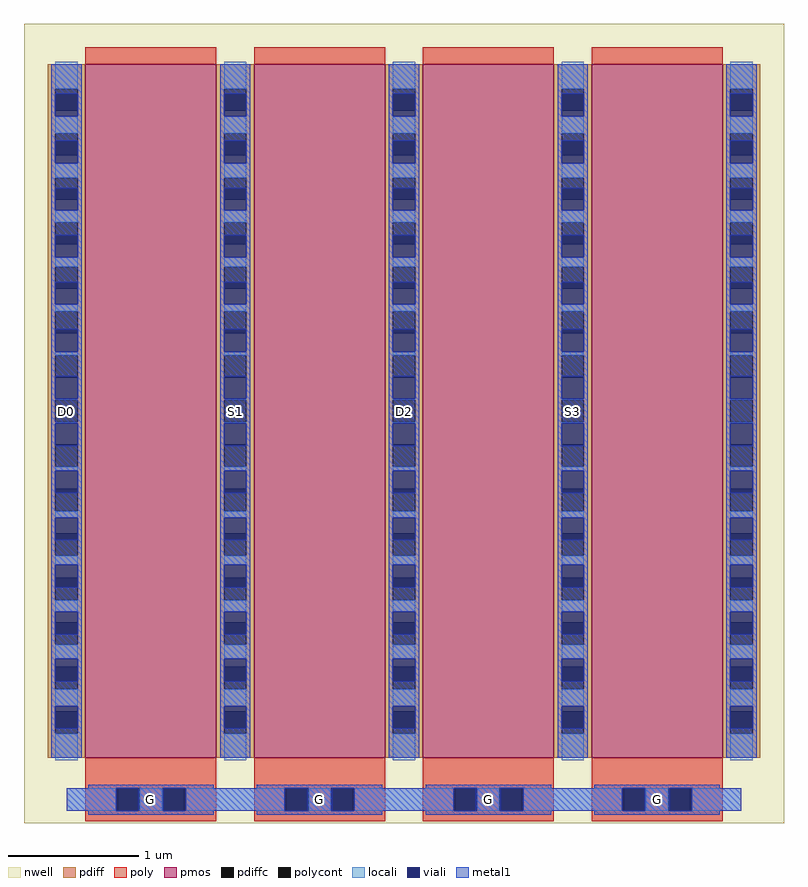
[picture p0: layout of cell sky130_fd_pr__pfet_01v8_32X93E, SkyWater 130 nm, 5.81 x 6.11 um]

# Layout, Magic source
magic
tech sky130A
magscale 1 2
<< nwell >>
rect -581 -594 581 628
<< pmos >>
rect -487 -494 -287 566
rect -229 -494 -29 566
rect 29 -494 229 566
rect 287 -494 487 566
<< pdiff >>
rect -545 529 -487 566
rect -545 495 -533 529
rect -499 495 -487 529
rect -545 461 -487 495
rect -545 427 -533 461
rect -499 427 -487 461
rect -545 393 -487 427
rect -545 359 -533 393
rect -499 359 -487 393
rect -545 325 -487 359
rect -545 291 -533 325
rect -499 291 -487 325
rect -545 257 -487 291
rect -545 223 -533 257
rect -499 223 -487 257
rect -545 189 -487 223
rect -545 155 -533 189
rect -499 155 -487 189
rect -545 121 -487 155
rect -545 87 -533 121
rect -499 87 -487 121
rect -545 53 -487 87
rect -545 19 -533 53
rect -499 19 -487 53
rect -545 -15 -487 19
rect -545 -49 -533 -15
rect -499 -49 -487 -15
rect -545 -83 -487 -49
rect -545 -117 -533 -83
rect -499 -117 -487 -83
rect -545 -151 -487 -117
rect -545 -185 -533 -151
rect -499 -185 -487 -151
rect -545 -219 -487 -185
rect -545 -253 -533 -219
rect -499 -253 -487 -219
rect -545 -287 -487 -253
rect -545 -321 -533 -287
rect -499 -321 -487 -287
rect -545 -355 -487 -321
rect -545 -389 -533 -355
rect -499 -389 -487 -355
rect -545 -423 -487 -389
rect -545 -457 -533 -423
rect -499 -457 -487 -423
rect -545 -494 -487 -457
rect -287 529 -229 566
rect -287 495 -275 529
rect -241 495 -229 529
rect -287 461 -229 495
rect -287 427 -275 461
rect -241 427 -229 461
rect -287 393 -229 427
rect -287 359 -275 393
rect -241 359 -229 393
rect -287 325 -229 359
rect -287 291 -275 325
rect -241 291 -229 325
rect -287 257 -229 291
rect -287 223 -275 257
rect -241 223 -229 257
rect -287 189 -229 223
rect -287 155 -275 189
rect -241 155 -229 189
rect -287 121 -229 155
rect -287 87 -275 121
rect -241 87 -229 121
rect -287 53 -229 87
rect -287 19 -275 53
rect -241 19 -229 53
rect -287 -15 -229 19
rect -287 -49 -275 -15
rect -241 -49 -229 -15
rect -287 -83 -229 -49
rect -287 -117 -275 -83
rect -241 -117 -229 -83
rect -287 -151 -229 -117
rect -287 -185 -275 -151
rect -241 -185 -229 -151
rect -287 -219 -229 -185
rect -287 -253 -275 -219
rect -241 -253 -229 -219
rect -287 -287 -229 -253
rect -287 -321 -275 -287
rect -241 -321 -229 -287
rect -287 -355 -229 -321
rect -287 -389 -275 -355
rect -241 -389 -229 -355
rect -287 -423 -229 -389
rect -287 -457 -275 -423
rect -241 -457 -229 -423
rect -287 -494 -229 -457
rect -29 529 29 566
rect -29 495 -17 529
rect 17 495 29 529
rect -29 461 29 495
rect -29 427 -17 461
rect 17 427 29 461
rect -29 393 29 427
rect -29 359 -17 393
rect 17 359 29 393
rect -29 325 29 359
rect -29 291 -17 325
rect 17 291 29 325
rect -29 257 29 291
rect -29 223 -17 257
rect 17 223 29 257
rect -29 189 29 223
rect -29 155 -17 189
rect 17 155 29 189
rect -29 121 29 155
rect -29 87 -17 121
rect 17 87 29 121
rect -29 53 29 87
rect -29 19 -17 53
rect 17 19 29 53
rect -29 -15 29 19
rect -29 -49 -17 -15
rect 17 -49 29 -15
rect -29 -83 29 -49
rect -29 -117 -17 -83
rect 17 -117 29 -83
rect -29 -151 29 -117
rect -29 -185 -17 -151
rect 17 -185 29 -151
rect -29 -219 29 -185
rect -29 -253 -17 -219
rect 17 -253 29 -219
rect -29 -287 29 -253
rect -29 -321 -17 -287
rect 17 -321 29 -287
rect -29 -355 29 -321
rect -29 -389 -17 -355
rect 17 -389 29 -355
rect -29 -423 29 -389
rect -29 -457 -17 -423
rect 17 -457 29 -423
rect -29 -494 29 -457
rect 229 529 287 566
rect 229 495 241 529
rect 275 495 287 529
rect 229 461 287 495
rect 229 427 241 461
rect 275 427 287 461
rect 229 393 287 427
rect 229 359 241 393
rect 275 359 287 393
rect 229 325 287 359
rect 229 291 241 325
rect 275 291 287 325
rect 229 257 287 291
rect 229 223 241 257
rect 275 223 287 257
rect 229 189 287 223
rect 229 155 241 189
rect 275 155 287 189
rect 229 121 287 155
rect 229 87 241 121
rect 275 87 287 121
rect 229 53 287 87
rect 229 19 241 53
rect 275 19 287 53
rect 229 -15 287 19
rect 229 -49 241 -15
rect 275 -49 287 -15
rect 229 -83 287 -49
rect 229 -117 241 -83
rect 275 -117 287 -83
rect 229 -151 287 -117
rect 229 -185 241 -151
rect 275 -185 287 -151
rect 229 -219 287 -185
rect 229 -253 241 -219
rect 275 -253 287 -219
rect 229 -287 287 -253
rect 229 -321 241 -287
rect 275 -321 287 -287
rect 229 -355 287 -321
rect 229 -389 241 -355
rect 275 -389 287 -355
rect 229 -423 287 -389
rect 229 -457 241 -423
rect 275 -457 287 -423
rect 229 -494 287 -457
rect 487 529 545 566
rect 487 495 499 529
rect 533 495 545 529
rect 487 461 545 495
rect 487 427 499 461
rect 533 427 545 461
rect 487 393 545 427
rect 487 359 499 393
rect 533 359 545 393
rect 487 325 545 359
rect 487 291 499 325
rect 533 291 545 325
rect 487 257 545 291
rect 487 223 499 257
rect 533 223 545 257
rect 487 189 545 223
rect 487 155 499 189
rect 533 155 545 189
rect 487 121 545 155
rect 487 87 499 121
rect 533 87 545 121
rect 487 53 545 87
rect 487 19 499 53
rect 533 19 545 53
rect 487 -15 545 19
rect 487 -49 499 -15
rect 533 -49 545 -15
rect 487 -83 545 -49
rect 487 -117 499 -83
rect 533 -117 545 -83
rect 487 -151 545 -117
rect 487 -185 499 -151
rect 533 -185 545 -151
rect 487 -219 545 -185
rect 487 -253 499 -219
rect 533 -253 545 -219
rect 487 -287 545 -253
rect 487 -321 499 -287
rect 533 -321 545 -287
rect 487 -355 545 -321
rect 487 -389 499 -355
rect 533 -389 545 -355
rect 487 -423 545 -389
rect 487 -457 499 -423
rect 533 -457 545 -423
rect 487 -494 545 -457
<< pdiffc >>
rect -533 495 -499 529
rect -533 427 -499 461
rect -533 359 -499 393
rect -533 291 -499 325
rect -533 223 -499 257
rect -533 155 -499 189
rect -533 87 -499 121
rect -533 19 -499 53
rect -533 -49 -499 -15
rect -533 -117 -499 -83
rect -533 -185 -499 -151
rect -533 -253 -499 -219
rect -533 -321 -499 -287
rect -533 -389 -499 -355
rect -533 -457 -499 -423
rect -275 495 -241 529
rect -275 427 -241 461
rect -275 359 -241 393
rect -275 291 -241 325
rect -275 223 -241 257
rect -275 155 -241 189
rect -275 87 -241 121
rect -275 19 -241 53
rect -275 -49 -241 -15
rect -275 -117 -241 -83
rect -275 -185 -241 -151
rect -275 -253 -241 -219
rect -275 -321 -241 -287
rect -275 -389 -241 -355
rect -275 -457 -241 -423
rect -17 495 17 529
rect -17 427 17 461
rect -17 359 17 393
rect -17 291 17 325
rect -17 223 17 257
rect -17 155 17 189
rect -17 87 17 121
rect -17 19 17 53
rect -17 -49 17 -15
rect -17 -117 17 -83
rect -17 -185 17 -151
rect -17 -253 17 -219
rect -17 -321 17 -287
rect -17 -389 17 -355
rect -17 -457 17 -423
rect 241 495 275 529
rect 241 427 275 461
rect 241 359 275 393
rect 241 291 275 325
rect 241 223 275 257
rect 241 155 275 189
rect 241 87 275 121
rect 241 19 275 53
rect 241 -49 275 -15
rect 241 -117 275 -83
rect 241 -185 275 -151
rect 241 -253 275 -219
rect 241 -321 275 -287
rect 241 -389 275 -355
rect 241 -457 275 -423
rect 499 495 533 529
rect 499 427 533 461
rect 499 359 533 393
rect 499 291 533 325
rect 499 223 533 257
rect 499 155 533 189
rect 499 87 533 121
rect 499 19 533 53
rect 499 -49 533 -15
rect 499 -117 533 -83
rect 499 -185 533 -151
rect 499 -253 533 -219
rect 499 -321 533 -287
rect 499 -389 533 -355
rect 499 -457 533 -423
<< poly >>
rect -487 566 -287 592
rect -229 566 -29 592
rect 29 566 229 592
rect 287 566 487 592
rect -487 -541 -287 -494
rect -487 -575 -438 -541
rect -404 -575 -370 -541
rect -336 -575 -287 -541
rect -487 -591 -287 -575
rect -229 -541 -29 -494
rect -229 -575 -180 -541
rect -146 -575 -112 -541
rect -78 -575 -29 -541
rect -229 -591 -29 -575
rect 29 -541 229 -494
rect 29 -575 78 -541
rect 112 -575 146 -541
rect 180 -575 229 -541
rect 29 -591 229 -575
rect 287 -541 487 -494
rect 287 -575 336 -541
rect 370 -575 404 -541
rect 438 -575 487 -541
rect 287 -591 487 -575
<< polycont >>
rect -438 -575 -404 -541
rect -370 -575 -336 -541
rect -180 -575 -146 -541
rect -112 -575 -78 -541
rect 78 -575 112 -541
rect 146 -575 180 -541
rect 336 -575 370 -541
rect 404 -575 438 -541
<< locali >>
rect -533 529 -499 570
rect -533 461 -499 487
rect -533 393 -499 415
rect -533 325 -499 343
rect -533 257 -499 271
rect -533 189 -499 199
rect -533 121 -499 127
rect -533 53 -499 55
rect -533 17 -499 19
rect -533 -55 -499 -49
rect -533 -127 -499 -117
rect -533 -199 -499 -185
rect -533 -271 -499 -253
rect -533 -343 -499 -321
rect -533 -415 -499 -389
rect -533 -498 -499 -457
rect -275 529 -241 570
rect -275 461 -241 487
rect -275 393 -241 415
rect -275 325 -241 343
rect -275 257 -241 271
rect -275 189 -241 199
rect -275 121 -241 127
rect -275 53 -241 55
rect -275 17 -241 19
rect -275 -55 -241 -49
rect -275 -127 -241 -117
rect -275 -199 -241 -185
rect -275 -271 -241 -253
rect -275 -343 -241 -321
rect -275 -415 -241 -389
rect -275 -498 -241 -457
rect -17 529 17 570
rect -17 461 17 487
rect -17 393 17 415
rect -17 325 17 343
rect -17 257 17 271
rect -17 189 17 199
rect -17 121 17 127
rect -17 53 17 55
rect -17 17 17 19
rect -17 -55 17 -49
rect -17 -127 17 -117
rect -17 -199 17 -185
rect -17 -271 17 -253
rect -17 -343 17 -321
rect -17 -415 17 -389
rect -17 -498 17 -457
rect 241 529 275 570
rect 241 461 275 487
rect 241 393 275 415
rect 241 325 275 343
rect 241 257 275 271
rect 241 189 275 199
rect 241 121 275 127
rect 241 53 275 55
rect 241 17 275 19
rect 241 -55 275 -49
rect 241 -127 275 -117
rect 241 -199 275 -185
rect 241 -271 275 -253
rect 241 -343 275 -321
rect 241 -415 275 -389
rect 241 -498 275 -457
rect 499 529 533 570
rect 499 461 533 487
rect 499 393 533 415
rect 499 325 533 343
rect 499 257 533 271
rect 499 189 533 199
rect 499 121 533 127
rect 499 53 533 55
rect 499 17 533 19
rect 499 -55 533 -49
rect 499 -127 533 -117
rect 499 -199 533 -185
rect 499 -271 533 -253
rect 499 -343 533 -321
rect 499 -415 533 -389
rect 499 -498 533 -457
rect -516 -575 -440 -541
rect -404 -575 -370 -541
rect -334 -575 -182 -541
rect -146 -575 -112 -541
rect -76 -575 76 -541
rect 112 -575 146 -541
rect 182 -575 334 -541
rect 370 -575 404 -541
rect 440 -575 516 -541
<< viali >>
rect -533 495 -499 521
rect -533 487 -499 495
rect -533 427 -499 449
rect -533 415 -499 427
rect -533 359 -499 377
rect -533 343 -499 359
rect -533 291 -499 305
rect -533 271 -499 291
rect -533 223 -499 233
rect -533 199 -499 223
rect -533 155 -499 161
rect -533 127 -499 155
rect -533 87 -499 89
rect -533 55 -499 87
rect -533 -15 -499 17
rect -533 -17 -499 -15
rect -533 -83 -499 -55
rect -533 -89 -499 -83
rect -533 -151 -499 -127
rect -533 -161 -499 -151
rect -533 -219 -499 -199
rect -533 -233 -499 -219
rect -533 -287 -499 -271
rect -533 -305 -499 -287
rect -533 -355 -499 -343
rect -533 -377 -499 -355
rect -533 -423 -499 -415
rect -533 -449 -499 -423
rect -275 495 -241 521
rect -275 487 -241 495
rect -275 427 -241 449
rect -275 415 -241 427
rect -275 359 -241 377
rect -275 343 -241 359
rect -275 291 -241 305
rect -275 271 -241 291
rect -275 223 -241 233
rect -275 199 -241 223
rect -275 155 -241 161
rect -275 127 -241 155
rect -275 87 -241 89
rect -275 55 -241 87
rect -275 -15 -241 17
rect -275 -17 -241 -15
rect -275 -83 -241 -55
rect -275 -89 -241 -83
rect -275 -151 -241 -127
rect -275 -161 -241 -151
rect -275 -219 -241 -199
rect -275 -233 -241 -219
rect -275 -287 -241 -271
rect -275 -305 -241 -287
rect -275 -355 -241 -343
rect -275 -377 -241 -355
rect -275 -423 -241 -415
rect -275 -449 -241 -423
rect -17 495 17 521
rect -17 487 17 495
rect -17 427 17 449
rect -17 415 17 427
rect -17 359 17 377
rect -17 343 17 359
rect -17 291 17 305
rect -17 271 17 291
rect -17 223 17 233
rect -17 199 17 223
rect -17 155 17 161
rect -17 127 17 155
rect -17 87 17 89
rect -17 55 17 87
rect -17 -15 17 17
rect -17 -17 17 -15
rect -17 -83 17 -55
rect -17 -89 17 -83
rect -17 -151 17 -127
rect -17 -161 17 -151
rect -17 -219 17 -199
rect -17 -233 17 -219
rect -17 -287 17 -271
rect -17 -305 17 -287
rect -17 -355 17 -343
rect -17 -377 17 -355
rect -17 -423 17 -415
rect -17 -449 17 -423
rect 241 495 275 521
rect 241 487 275 495
rect 241 427 275 449
rect 241 415 275 427
rect 241 359 275 377
rect 241 343 275 359
rect 241 291 275 305
rect 241 271 275 291
rect 241 223 275 233
rect 241 199 275 223
rect 241 155 275 161
rect 241 127 275 155
rect 241 87 275 89
rect 241 55 275 87
rect 241 -15 275 17
rect 241 -17 275 -15
rect 241 -83 275 -55
rect 241 -89 275 -83
rect 241 -151 275 -127
rect 241 -161 275 -151
rect 241 -219 275 -199
rect 241 -233 275 -219
rect 241 -287 275 -271
rect 241 -305 275 -287
rect 241 -355 275 -343
rect 241 -377 275 -355
rect 241 -423 275 -415
rect 241 -449 275 -423
rect 499 495 533 521
rect 499 487 533 495
rect 499 427 533 449
rect 499 415 533 427
rect 499 359 533 377
rect 499 343 533 359
rect 499 291 533 305
rect 499 271 533 291
rect 499 223 533 233
rect 499 199 533 223
rect 499 155 533 161
rect 499 127 533 155
rect 499 87 533 89
rect 499 55 533 87
rect 499 -15 533 17
rect 499 -17 533 -15
rect 499 -83 533 -55
rect 499 -89 533 -83
rect 499 -151 533 -127
rect 499 -161 533 -151
rect 499 -219 533 -199
rect 499 -233 533 -219
rect 499 -287 533 -271
rect 499 -305 533 -287
rect 499 -355 533 -343
rect 499 -377 533 -355
rect 499 -423 533 -415
rect 499 -449 533 -423
rect -440 -575 -438 -541
rect -438 -575 -406 -541
rect -368 -575 -336 -541
rect -336 -575 -334 -541
rect -182 -575 -180 -541
rect -180 -575 -148 -541
rect -110 -575 -78 -541
rect -78 -575 -76 -541
rect 76 -575 78 -541
rect 78 -575 110 -541
rect 148 -575 180 -541
rect 180 -575 182 -541
rect 334 -575 336 -541
rect 336 -575 368 -541
rect 406 -575 438 -541
rect 438 -575 440 -541
<< metal1 >>
rect -539 521 -493 566
rect -539 487 -533 521
rect -499 487 -493 521
rect -539 449 -493 487
rect -539 415 -533 449
rect -499 415 -493 449
rect -539 377 -493 415
rect -539 343 -533 377
rect -499 343 -493 377
rect -539 305 -493 343
rect -539 271 -533 305
rect -499 271 -493 305
rect -539 233 -493 271
rect -539 199 -533 233
rect -499 199 -493 233
rect -539 161 -493 199
rect -539 127 -533 161
rect -499 127 -493 161
rect -539 89 -493 127
rect -539 55 -533 89
rect -499 55 -493 89
rect -539 17 -493 55
rect -539 -17 -533 17
rect -499 -17 -493 17
rect -539 -55 -493 -17
rect -539 -89 -533 -55
rect -499 -89 -493 -55
rect -539 -127 -493 -89
rect -539 -161 -533 -127
rect -499 -161 -493 -127
rect -539 -199 -493 -161
rect -539 -233 -533 -199
rect -499 -233 -493 -199
rect -539 -271 -493 -233
rect -539 -305 -533 -271
rect -499 -305 -493 -271
rect -539 -343 -493 -305
rect -539 -377 -533 -343
rect -499 -377 -493 -343
rect -539 -415 -493 -377
rect -539 -449 -533 -415
rect -499 -449 -493 -415
rect -539 -494 -493 -449
rect -281 521 -235 566
rect -281 487 -275 521
rect -241 487 -235 521
rect -281 449 -235 487
rect -281 415 -275 449
rect -241 415 -235 449
rect -281 377 -235 415
rect -281 343 -275 377
rect -241 343 -235 377
rect -281 305 -235 343
rect -281 271 -275 305
rect -241 271 -235 305
rect -281 233 -235 271
rect -281 199 -275 233
rect -241 199 -235 233
rect -281 161 -235 199
rect -281 127 -275 161
rect -241 127 -235 161
rect -281 89 -235 127
rect -281 55 -275 89
rect -241 55 -235 89
rect -281 17 -235 55
rect -281 -17 -275 17
rect -241 -17 -235 17
rect -281 -55 -235 -17
rect -281 -89 -275 -55
rect -241 -89 -235 -55
rect -281 -127 -235 -89
rect -281 -161 -275 -127
rect -241 -161 -235 -127
rect -281 -199 -235 -161
rect -281 -233 -275 -199
rect -241 -233 -235 -199
rect -281 -271 -235 -233
rect -281 -305 -275 -271
rect -241 -305 -235 -271
rect -281 -343 -235 -305
rect -281 -377 -275 -343
rect -241 -377 -235 -343
rect -281 -415 -235 -377
rect -281 -449 -275 -415
rect -241 -449 -235 -415
rect -281 -494 -235 -449
rect -23 521 23 566
rect -23 487 -17 521
rect 17 487 23 521
rect -23 449 23 487
rect -23 415 -17 449
rect 17 415 23 449
rect -23 377 23 415
rect -23 343 -17 377
rect 17 343 23 377
rect -23 305 23 343
rect -23 271 -17 305
rect 17 271 23 305
rect -23 233 23 271
rect -23 199 -17 233
rect 17 199 23 233
rect -23 161 23 199
rect -23 127 -17 161
rect 17 127 23 161
rect -23 89 23 127
rect -23 55 -17 89
rect 17 55 23 89
rect -23 17 23 55
rect -23 -17 -17 17
rect 17 -17 23 17
rect -23 -55 23 -17
rect -23 -89 -17 -55
rect 17 -89 23 -55
rect -23 -127 23 -89
rect -23 -161 -17 -127
rect 17 -161 23 -127
rect -23 -199 23 -161
rect -23 -233 -17 -199
rect 17 -233 23 -199
rect -23 -271 23 -233
rect -23 -305 -17 -271
rect 17 -305 23 -271
rect -23 -343 23 -305
rect -23 -377 -17 -343
rect 17 -377 23 -343
rect -23 -415 23 -377
rect -23 -449 -17 -415
rect 17 -449 23 -415
rect -23 -494 23 -449
rect 235 521 281 566
rect 235 487 241 521
rect 275 487 281 521
rect 235 449 281 487
rect 235 415 241 449
rect 275 415 281 449
rect 235 377 281 415
rect 235 343 241 377
rect 275 343 281 377
rect 235 305 281 343
rect 235 271 241 305
rect 275 271 281 305
rect 235 233 281 271
rect 235 199 241 233
rect 275 199 281 233
rect 235 161 281 199
rect 235 127 241 161
rect 275 127 281 161
rect 235 89 281 127
rect 235 55 241 89
rect 275 55 281 89
rect 235 17 281 55
rect 235 -17 241 17
rect 275 -17 281 17
rect 235 -55 281 -17
rect 235 -89 241 -55
rect 275 -89 281 -55
rect 235 -127 281 -89
rect 235 -161 241 -127
rect 275 -161 281 -127
rect 235 -199 281 -161
rect 235 -233 241 -199
rect 275 -233 281 -199
rect 235 -271 281 -233
rect 235 -305 241 -271
rect 275 -305 281 -271
rect 235 -343 281 -305
rect 235 -377 241 -343
rect 275 -377 281 -343
rect 235 -415 281 -377
rect 235 -449 241 -415
rect 275 -449 281 -415
rect 235 -494 281 -449
rect 493 521 539 566
rect 493 487 499 521
rect 533 487 539 521
rect 493 449 539 487
rect 493 415 499 449
rect 533 415 539 449
rect 493 377 539 415
rect 493 343 499 377
rect 533 343 539 377
rect 493 305 539 343
rect 493 271 499 305
rect 533 271 539 305
rect 493 233 539 271
rect 493 199 499 233
rect 533 199 539 233
rect 493 161 539 199
rect 493 127 499 161
rect 533 127 539 161
rect 493 89 539 127
rect 493 55 499 89
rect 533 55 539 89
rect 493 17 539 55
rect 493 -17 499 17
rect 533 -17 539 17
rect 493 -55 539 -17
rect 493 -89 499 -55
rect 533 -89 539 -55
rect 493 -127 539 -89
rect 493 -161 499 -127
rect 533 -161 539 -127
rect 493 -199 539 -161
rect 493 -233 499 -199
rect 533 -233 539 -199
rect 493 -271 539 -233
rect 493 -305 499 -271
rect 533 -305 539 -271
rect 493 -343 539 -305
rect 493 -377 499 -343
rect 533 -377 539 -343
rect 493 -415 539 -377
rect 493 -449 499 -415
rect 533 -449 539 -415
rect 493 -494 539 -449
rect -483 -541 -291 -535
rect -225 -541 -33 -535
rect 33 -541 225 -535
rect 291 -541 483 -535
rect -516 -575 -440 -541
rect -406 -575 -368 -541
rect -334 -575 -182 -541
rect -148 -575 -110 -541
rect -76 -575 76 -541
rect 110 -575 148 -541
rect 182 -575 334 -541
rect 368 -575 406 -541
rect 440 -575 516 -541
rect -483 -581 -291 -575
rect -225 -581 -33 -575
rect 33 -581 225 -575
rect 291 -581 483 -575
<< labels >>
rlabel locali s -516 36 -516 36 4 D0
rlabel locali s 387 -558 387 -558 4 G
rlabel locali s 129 -558 129 -558 4 G
rlabel locali s -129 -558 -129 -558 4 G
rlabel locali s -387 -558 -387 -558 4 G
rlabel locali s -258 36 -258 36 4 S1
rlabel locali s 0 36 0 36 4 D2
rlabel locali s 258 36 258 36 4 S3
<< end >>
